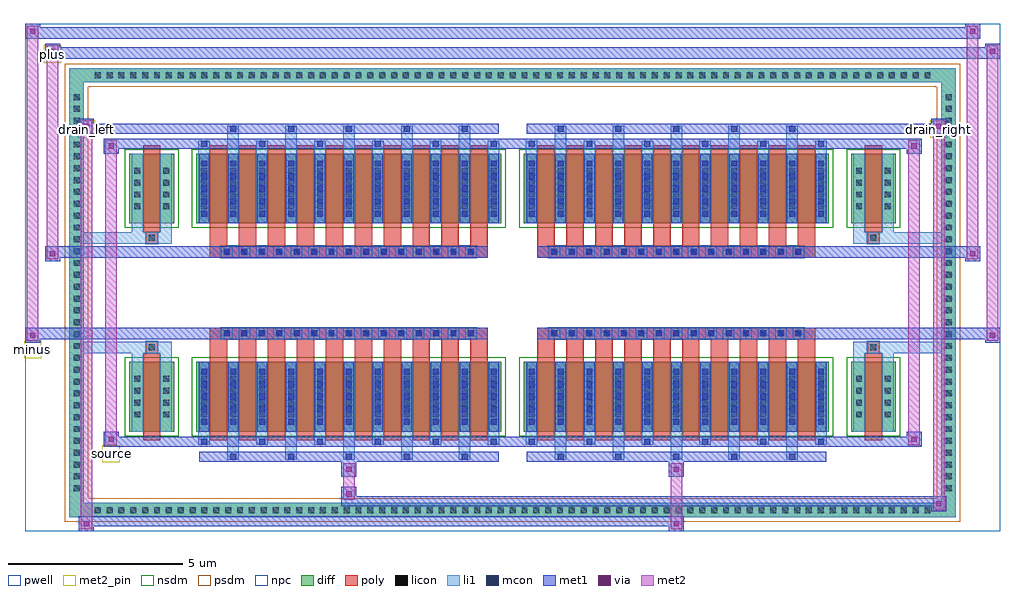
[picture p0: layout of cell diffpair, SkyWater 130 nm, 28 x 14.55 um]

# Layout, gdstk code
import gdstk
lib = gdstk.Library(unit=1e-6, precision=5e-09)
def R(c, l, rs):  # rectangles x0, y0, x1, y1
    for r in rs: c.add(gdstk.rectangle(r[:2], r[2:], *l))
def A(c, l, x, y, w, h, nx, ny, dx, dy):  # array of equal rectangles
    R(c, l, [(x+i*dx, y+j*dy, x+i*dx+w, y+j*dy+h) for i in range(nx) for j in range(ny)])
def P(c, l, *ps):  # polygons
    for p in ps: c.add(gdstk.Polygon(p, *l))
pwell = (64, 44)
diff = (65, 20)
poly = (66, 20)
licon = (66, 44)
li1 = (67, 20)
mcon = (67, 44)
met1 = (68, 20)
via = (68, 44)
met2_pin = (69, 16)
met2 = (69, 20)
nsdm = (93, 44)
psdm = (94, 20)
npc = (95, 20)

diffpair = lib.new_cell('diffpair')
R(diffpair, pwell, [(-13.98,-6.84,13.98,7.71), (-11.3,-5.03,-0.01,-0.805), (0.01,-5.03,11.3,-0.805), (-11.3,0.805,-0.01,5.03), (0.01,0.805,11.3,5.03)])
A(diffpair, diff, -12.105, -6.44, 0.41, 0.41, 71, 2, 0.34, 12.47)
A(diffpair, diff, -12.71, -5.815, 0.41, 0.41, 1, 34, 0, 0.34)
A(diffpair, diff, 12.3, -5.815, 0.41, 0.41, 1, 34, 0, 0.34)
R(diffpair, diff, [(-12.105,-6.44,12.105,-6.03), (-12.71,-5.815,-12.3,5.815), (12.3,-5.815,12.71,5.815), (-10.99,-3.985,-9.71,-1.985), (-9.07,-3.985,-0.32,-1.985), (0.32,-3.985,9.07,-1.985), (9.71,-3.985,10.99,-1.985), (-10.99,1.985,-9.71,3.985), (-9.07,1.985,-0.32,3.985), (0.32,1.985,9.07,3.985), (9.71,1.985,10.99,3.985), (-12.105,6.03,12.105,6.44)])
P(diffpair, diff, [(12.71,6.44),(-12.71,6.44),(-12.71,-6.03),(-12.3,-6.03),(-12.3,6.03),(12.3,6.03),(12.3,-6.03),(-12.3,-6.03),(-12.71,-6.03),(-12.71,-6.44),(12.71,-6.44)])
A(diffpair, poly, -8.68, -4.235, 0.5, 2.5, 10, 2, 0.83, 5.97)
A(diffpair, poly, 0.71, -4.235, 0.5, 2.5, 10, 2, 0.83, 5.97)
A(diffpair, poly, -8.68, -1.735, 0.5, 0.4, 10, 2, 0.83, 3.07)
A(diffpair, poly, 0.71, -1.735, 0.5, 0.4, 10, 2, 0.83, 3.07)
A(diffpair, poly, -8.36, -1.335, 0.33, 0.33, 15, 2, 0.5, 2.34)
A(diffpair, poly, 1.03, -1.335, 0.33, 0.33, 15, 2, 0.5, 2.34)
R(diffpair, poly, [(-10.6,-4.235,-10.1,-1.735), (10.1,-4.235,10.6,-1.735), (-10.515,-1.735,-10.185,-1.405), (-10.515,-1.735,-10.185,-1.405), (10.185,-1.735,10.515,-1.405), (10.185,-1.735,10.515,-1.405), (-8.68,-1.335,-0.71,-1.005), (0.71,-1.335,8.68,-1.005), (-8.68,1.005,-0.71,1.335), (0.71,1.005,8.68,1.335), (-10.515,1.405,-10.185,1.735), (-10.515,1.405,-10.185,1.735), (10.185,1.405,10.515,1.735), (10.185,1.405,10.515,1.735), (-10.6,1.735,-10.1,4.235), (10.1,1.735,10.6,4.235)])
A(diffpair, licon, -11.985, -6.32, 0.17, 0.17, 71, 2, 0.34, 12.47)
A(diffpair, licon, -12.59, -5.695, 0.17, 0.17, 1, 34, 0, 0.34)
A(diffpair, licon, 12.42, -5.695, 0.17, 0.17, 1, 34, 0, 0.34)
A(diffpair, licon, -10.85, -3.58, 0.17, 0.17, 1, 4, 0, 0.34)
A(diffpair, licon, -10.02, -3.58, 0.17, 0.17, 1, 4, 0, 0.34)
A(diffpair, licon, -8.93, -3.58, 0.17, 0.17, 11, 4, 0.83, 0.34)
A(diffpair, licon, 0.46, -3.58, 0.17, 0.17, 11, 4, 0.83, 0.34)
A(diffpair, licon, 9.85, -3.58, 0.17, 0.17, 1, 4, 0, 0.34)
A(diffpair, licon, 10.68, -3.58, 0.17, 0.17, 1, 4, 0, 0.34)
A(diffpair, licon, -8.28, -1.255, 0.17, 0.17, 15, 2, 0.5, 2.34)
A(diffpair, licon, 1.11, -1.255, 0.17, 0.17, 15, 2, 0.5, 2.34)
A(diffpair, licon, -10.85, 2.39, 0.17, 0.17, 1, 4, 0, 0.34)
A(diffpair, licon, -10.02, 2.39, 0.17, 0.17, 1, 4, 0, 0.34)
A(diffpair, licon, -8.93, 2.39, 0.17, 0.17, 11, 4, 0.83, 0.34)
A(diffpair, licon, 0.46, 2.39, 0.17, 0.17, 11, 4, 0.83, 0.34)
A(diffpair, licon, 9.85, 2.39, 0.17, 0.17, 1, 4, 0, 0.34)
A(diffpair, licon, 10.68, 2.39, 0.17, 0.17, 1, 4, 0, 0.34)
R(diffpair, licon, [(-10.435,-1.655,-10.265,-1.485), (10.265,-1.655,10.435,-1.485), (-10.435,1.485,-10.265,1.655), (10.265,1.485,10.435,1.655)])
A(diffpair, li1, -12.065, -6.4, 0.33, 0.33, 71, 2, 0.34, 12.47)
A(diffpair, li1, -12.67, -5.775, 0.33, 0.33, 1, 34, 0, 0.34)
A(diffpair, li1, 12.34, -5.775, 0.33, 0.33, 1, 34, 0, 0.34)
A(diffpair, li1, -8.18, -4.79, 0.33, 0.805, 5, 2, 1.66, 8.775)
A(diffpair, li1, -8.1, -4.79, 0.17, 0.17, 5, 2, 1.66, 9.41)
A(diffpair, li1, 1.21, -4.79, 0.33, 0.805, 5, 2, 1.66, 8.775)
A(diffpair, li1, 1.29, -4.79, 0.17, 0.17, 5, 2, 1.66, 9.41)
A(diffpair, li1, -9.01, -4.36, 0.33, 0.375, 6, 2, 1.66, 8.345)
A(diffpair, li1, -8.93, -4.36, 0.17, 0.17, 6, 2, 1.66, 8.55)
A(diffpair, li1, 0.38, -4.36, 0.33, 0.375, 6, 2, 1.66, 8.345)
A(diffpair, li1, 0.46, -4.36, 0.17, 0.17, 6, 2, 1.66, 8.55)
A(diffpair, li1, -9.01, -3.985, 0.33, 2, 11, 2, 0.83, 5.97)
A(diffpair, li1, 0.38, -3.985, 0.33, 2, 11, 2, 0.83, 5.97)
A(diffpair, li1, -8.93, -3.79, 0.17, 0.17, 11, 5, 0.83, 0.36)
A(diffpair, li1, -8.93, -3.79, 0.17, 1.61, 11, 2, 0.83, 5.97)
A(diffpair, li1, 0.46, -3.79, 0.17, 0.17, 11, 5, 0.83, 0.36)
A(diffpair, li1, 0.46, -3.79, 0.17, 1.61, 11, 2, 0.83, 5.97)
A(diffpair, li1, -10.93, -3.66, 0.33, 0.33, 1, 4, 0, 0.34)
A(diffpair, li1, -10.1, -3.66, 0.33, 0.33, 1, 4, 0, 0.34)
A(diffpair, li1, -9.01, -3.66, 0.33, 0.33, 11, 4, 0.83, 0.34)
A(diffpair, li1, 0.38, -3.66, 0.33, 0.33, 11, 4, 0.83, 0.34)
A(diffpair, li1, 9.77, -3.66, 0.33, 0.33, 1, 4, 0, 0.34)
A(diffpair, li1, 10.6, -3.66, 0.33, 0.33, 1, 4, 0, 0.34)
A(diffpair, li1, -8.36, -1.335, 0.33, 0.33, 15, 2, 0.5, 2.34)
A(diffpair, li1, 1.03, -1.335, 0.33, 0.33, 15, 2, 0.5, 2.34)
A(diffpair, li1, -8.93, 2.18, 0.17, 0.17, 11, 5, 0.83, 0.36)
A(diffpair, li1, 0.46, 2.18, 0.17, 0.17, 11, 5, 0.83, 0.36)
A(diffpair, li1, -10.93, 2.31, 0.33, 0.33, 1, 4, 0, 0.34)
A(diffpair, li1, -10.1, 2.31, 0.33, 0.33, 1, 4, 0, 0.34)
A(diffpair, li1, -9.01, 2.31, 0.33, 0.33, 11, 4, 0.83, 0.34)
A(diffpair, li1, 0.38, 2.31, 0.33, 0.33, 11, 4, 0.83, 0.34)
A(diffpair, li1, 9.77, 2.31, 0.33, 0.33, 1, 4, 0, 0.34)
A(diffpair, li1, 10.6, 2.31, 0.33, 0.33, 1, 4, 0, 0.34)
R(diffpair, li1, [(-12.71,-6.44,-12.3,-6.03), (-12.71,-6.44,-12.3,-6.03), (-12.3,-6.44,12.3,-6.03), (12.3,-6.44,12.71,-6.03), (12.3,-6.44,12.71,-6.03), (-12.71,-6.03,-12.3,6.03), (12.3,-6.03,12.71,6.03), (-10.93,-3.985,-10.6,-1.985), (-10.1,-3.985,-9.77,-1.985), (9.77,-3.985,10.1,-1.985), (10.6,-3.985,10.93,-1.985), (-10.93,-1.985,-10.6,-1.405), (-10.1,-1.985,-9.77,-1.405), (9.77,-1.985,10.1,-1.405), (10.6,-1.985,10.93,-1.405), (-12.71,-1.735,-10.515,-1.405), (-10.93,-1.735,-10.515,-1.405), (-10.515,-1.735,-10.185,-1.405), (-10.185,-1.735,-9.77,-1.405), (9.77,-1.735,10.185,-1.405), (10.185,-1.735,10.515,-1.405), (10.185,-1.735,12.71,-1.405), (10.515,-1.735,10.93,-1.405), (-12.71,1.405,-10.515,1.735), (-10.93,1.405,-10.515,1.735), (-10.93,1.405,-10.6,1.985), (-10.515,1.405,-10.185,1.735), (-10.185,1.405,-9.77,1.735), (-10.1,1.405,-9.77,1.985), (9.77,1.405,10.185,1.735), (9.77,1.405,10.1,1.985), (10.185,1.405,10.515,1.735), (10.185,1.405,12.71,1.735), (10.515,1.405,10.93,1.735), (10.6,1.405,10.93,1.985), (-10.93,1.985,-10.6,3.985), (-10.1,1.985,-9.77,3.985), (9.77,1.985,10.1,3.985), (10.6,1.985,10.93,3.985), (-12.71,6.03,-12.3,6.44), (-12.71,6.03,-12.3,6.44), (-12.3,6.03,12.3,6.44), (12.3,6.03,12.71,6.44), (12.3,6.03,12.71,6.44)])
A(diffpair, mcon, -8.1, -4.79, 0.17, 0.17, 5, 2, 1.66, 9.41)
A(diffpair, mcon, 1.29, -4.79, 0.17, 0.17, 5, 2, 1.66, 9.41)
A(diffpair, mcon, -8.93, -4.36, 0.17, 0.17, 6, 2, 1.66, 8.55)
A(diffpair, mcon, 0.46, -4.36, 0.17, 0.17, 6, 2, 1.66, 8.55)
A(diffpair, mcon, -8.93, -3.79, 0.17, 0.17, 11, 5, 0.83, 0.36)
A(diffpair, mcon, 0.46, -3.79, 0.17, 0.17, 11, 5, 0.83, 0.36)
A(diffpair, mcon, -8.28, -1.255, 0.17, 0.17, 15, 2, 0.5, 2.34)
A(diffpair, mcon, 1.11, -1.255, 0.17, 0.17, 15, 2, 0.5, 2.34)
A(diffpair, mcon, -8.93, 2.18, 0.17, 0.17, 11, 5, 0.83, 0.36)
A(diffpair, mcon, 0.46, 2.18, 0.17, 0.17, 11, 5, 0.83, 0.36)
A(diffpair, met1, -8.16, -4.85, 0.29, 0.29, 5, 2, 1.66, 9.41)
A(diffpair, met1, 1.23, -4.85, 0.29, 0.29, 5, 2, 1.66, 9.41)
A(diffpair, met1, -8.99, -4.42, 0.29, 0.29, 6, 2, 1.66, 8.55)
A(diffpair, met1, 0.4, -4.42, 0.29, 0.29, 6, 2, 1.66, 8.55)
A(diffpair, met1, -8.99, -3.985, 0.29, 2, 11, 2, 0.83, 5.97)
A(diffpair, met1, 0.4, -3.985, 0.29, 2, 11, 2, 0.83, 5.97)
A(diffpair, met1, -8.99, -3.85, 0.29, 0.29, 11, 5, 0.83, 0.36)
A(diffpair, met1, 0.4, -3.85, 0.29, 0.29, 11, 5, 0.83, 0.36)
A(diffpair, met1, -8.34, -1.315, 0.29, 0.29, 15, 2, 0.5, 2.34)
A(diffpair, met1, 1.05, -1.315, 0.29, 0.29, 15, 2, 0.5, 2.34)
A(diffpair, met1, -8.99, 2.12, 0.29, 0.29, 11, 5, 0.83, 0.36)
A(diffpair, met1, 0.4, 2.12, 0.29, 0.29, 11, 5, 0.83, 0.36)
R(diffpair, met1, [(-12.44,-6.84,-12.01,-6.41), (4.48,-6.84,4.91,-6.41), (-12.44,-6.7,4.91,-6.41), (12.01,-6.27,12.44,-5.84), (-4.91,-6.13,12.44,-5.84), (-4.91,-5.99,-4.48,-5.56), (-4.91,-5.28,-4.48,-4.85), (4.48,-5.28,4.91,-4.85), (-8.99,-4.85,-0.4,-4.56), (0.4,-4.85,8.99,-4.56), (-11.73,-4.42,-11.3,-3.99), (-11.73,-4.42,-8.99,-4.13), (-8.99,-4.42,-0.4,-4.13), (-0.4,-4.42,0.4,-4.13), (0.4,-4.42,8.99,-4.13), (8.99,-4.42,11.73,-4.13), (11.3,-4.42,11.73,-3.99), (-13.98,-1.435,-13.55,-1.005), (13.55,-1.435,13.98,-1.005), (-13.98,-1.335,-0.71,-1.005), (-8.68,-1.335,-0.71,-1.005), (0.71,-1.335,8.68,-1.005), (0.71,-1.335,13.98,-1.005), (-13.41,0.905,-12.98,1.335), (12.98,0.905,13.41,1.335), (-13.41,1.005,-8.68,1.335), (-8.68,1.005,-0.71,1.335), (0.71,1.005,8.68,1.335), (8.68,1.005,13.41,1.335), (-11.73,3.99,-11.3,4.42), (11.3,3.99,11.73,4.42), (-11.73,4.13,-8.99,4.42), (-8.99,4.13,-0.4,4.42), (-0.4,4.13,0.4,4.42), (0.4,4.13,8.99,4.42), (8.99,4.13,11.73,4.42), (-12.44,4.56,-12.01,4.99), (-12.44,4.56,-8.99,4.85), (-8.99,4.56,-0.4,4.85), (0.4,4.56,8.99,4.85), (8.99,4.56,12.44,4.85), (12.01,4.56,12.44,4.99), (-13.41,6.71,-12.98,7.14), (-13.41,6.71,-11.3,7.04), (-11.3,6.71,11.3,7.04), (11.3,6.71,13.98,7.04), (13.55,6.71,13.98,7.14), (-13.98,7.28,-13.55,7.71), (-13.98,7.28,-11.3,7.61), (-11.3,7.28,11.3,7.61), (11.3,7.28,13.41,7.61), (12.98,7.28,13.41,7.71)])
R(diffpair, via, [(-12.3,-6.7,-12.15,-6.55), (4.62,-6.7,4.77,-6.55), (12.15,-6.13,12.3,-5.98), (-4.77,-5.85,-4.62,-5.7), (-4.77,-5.14,-4.62,-4.99), (4.62,-5.14,4.77,-4.99), (-11.59,-4.28,-11.44,-4.13), (11.44,-4.28,11.59,-4.13), (-13.84,-1.295,-13.69,-1.145), (13.69,-1.295,13.84,-1.145), (-13.27,1.045,-13.12,1.195), (13.12,1.045,13.27,1.195), (-11.59,4.13,-11.44,4.28), (11.44,4.13,11.59,4.28), (-12.3,4.7,-12.15,4.85), (12.15,4.7,12.3,4.85), (-13.27,6.85,-13.12,7), (13.69,6.85,13.84,7), (-13.84,7.42,-13.69,7.57), (13.12,7.42,13.27,7.57)])
R(diffpair, met2_pin, [(-11.765,-4.87,-11.265,-4.37), (-14.015,-1.885,-13.515,-1.385), (-12.475,4.44,-11.975,4.94), (11.975,4.44,12.475,4.94), (-13.445,6.59,-12.945,7.09)])
R(diffpair, met2, [(-12.39,-6.79,-12.06,-6.46), (-12.39,-6.79,-12.06,4.94), (4.53,-6.79,4.86,-6.46), (4.53,-6.46,4.86,-5.23), (12.06,-6.22,12.39,-5.89), (12.06,-6.22,12.39,4.94), (-4.86,-5.94,-4.53,-5.61), (-4.86,-5.61,-4.53,-5.23), (-4.86,-5.23,-4.53,-4.9), (4.53,-5.23,4.86,-4.9), (-11.68,-4.37,-11.35,-4.04), (-11.68,-4.37,-11.35,4.37), (11.35,-4.37,11.68,-4.04), (11.35,-4.37,11.68,4.37), (-13.93,-1.385,-13.6,-1.055), (-13.93,-1.385,-13.6,7.66), (13.6,-1.385,13.93,-1.055), (13.6,-1.385,13.93,7.09), (-13.36,0.955,-13.03,1.285), (-13.36,0.955,-13.03,7.09), (13.03,0.955,13.36,1.285), (13.03,0.955,13.36,7.66), (-11.68,4.04,-11.35,4.37), (11.35,4.04,11.68,4.37), (-12.39,4.61,-12.06,4.94), (12.06,4.61,12.39,4.94), (-13.36,6.76,-13.03,7.09), (13.6,6.76,13.93,7.09), (-13.93,7.33,-13.6,7.66), (13.03,7.33,13.36,7.66)])
P(diffpair, met2, [(13.93,-1.385),(13.93,-1.385),(13.93,-1.055),(13.93,-1.055)],
  [(13.93,6.76),(13.93,6.76),(13.93,7.09),(13.93,7.09)],
  [(-13.6,-1.385),(-13.6,-1.385),(-13.6,-1.055),(-13.6,-1.055)],
  [(-13.6,7.33),(-13.6,7.33),(-13.6,7.66),(-13.6,7.66)],
  [(13.36,0.955),(13.36,0.955),(13.36,1.285),(13.36,1.285)],
  [(13.36,7.33),(13.36,7.33),(13.36,7.66),(13.36,7.66)],
  [(-13.03,0.955),(-13.03,0.955),(-13.03,1.285),(-13.03,1.285)],
  [(-13.03,6.76),(-13.03,6.76),(-13.03,7.09),(-13.03,7.09)],
  [(-12.06,-6.79),(-12.06,-6.79),(-12.06,-6.46),(-12.06,-6.46)],
  [(-12.06,4.61),(-12.06,4.61),(-12.06,4.94),(-12.06,4.94)],
  [(12.39,-6.22),(12.39,-6.22),(12.39,-5.89),(12.39,-5.89)],
  [(12.39,4.61),(12.39,4.61),(12.39,4.94),(12.39,4.94)],
  [(-11.35,-4.37),(-11.35,-4.37),(-11.35,-4.04),(-11.35,-4.04)],
  [(-11.35,4.04),(-11.35,4.04),(-11.35,4.37),(-11.35,4.37)],
  [(11.68,-4.37),(11.68,-4.37),(11.68,-4.04),(11.68,-4.04)],
  [(11.68,4.04),(11.68,4.04),(11.68,4.37),(11.68,4.37)])
R(diffpair, nsdm, [(-11.12,-4.115,-9.58,-1.855), (-9.2,-4.115,-0.19,-1.855), (0.19,-4.115,9.2,-1.855), (9.58,-4.115,11.12,-1.855), (-11.12,1.855,-9.58,4.115), (-9.2,1.855,-0.19,4.115), (0.19,1.855,9.2,4.115), (9.58,1.855,11.12,4.115)])
P(diffpair, psdm, [(12.84,6.57),(-12.84,6.57),(-12.84,-5.9),(-12.17,-5.9),(-12.17,5.9),(12.17,5.9),(12.17,-5.9),(-12.17,-5.9),(-12.84,-5.9),(-12.84,-6.57),(12.84,-6.57)])
A(diffpair, npc, -8.38, -1.355, 0.37, 0.37, 15, 2, 0.5, 2.34)
A(diffpair, npc, 1.01, -1.355, 0.37, 0.37, 15, 2, 0.5, 2.34)
R(diffpair, npc, [(-10.535,-1.755,-10.165,-1.385), (10.165,-1.755,10.535,-1.385), (-8.38,-1.355,-7.51,-0.985), (-8.38,-1.355,-7.51,-0.985), (-7.88,-1.355,-7.01,-0.985), (-7.88,-1.355,-7.01,-0.985), (-7.38,-1.355,-6.51,-0.985), (-7.38,-1.355,-6.51,-0.985), (-6.88,-1.355,-6.01,-0.985), (-6.88,-1.355,-6.01,-0.985), (-6.38,-1.355,-5.51,-0.985), (-6.38,-1.355,-5.51,-0.985), (-5.88,-1.355,-5.01,-0.985), (-5.88,-1.355,-5.01,-0.985), (-5.38,-1.355,-4.51,-0.985), (-5.38,-1.355,-4.51,-0.985), (-4.88,-1.355,-4.01,-0.985), (-4.88,-1.355,-4.01,-0.985), (-4.38,-1.355,-3.51,-0.985), (-4.38,-1.355,-3.51,-0.985), (-3.88,-1.355,-3.01,-0.985), (-3.88,-1.355,-3.01,-0.985), (-3.38,-1.355,-2.51,-0.985), (-3.38,-1.355,-2.51,-0.985), (-2.88,-1.355,-2.01,-0.985), (-2.88,-1.355,-2.01,-0.985), (-2.38,-1.355,-1.51,-0.985), (-2.38,-1.355,-1.51,-0.985), (-1.88,-1.355,-1.01,-0.985), (-1.88,-1.355,-1.01,-0.985), (1.01,-1.355,1.88,-0.985), (1.01,-1.355,1.88,-0.985), (1.51,-1.355,2.38,-0.985), (1.51,-1.355,2.38,-0.985), (2.01,-1.355,2.88,-0.985), (2.01,-1.355,2.88,-0.985), (2.51,-1.355,3.38,-0.985), (2.51,-1.355,3.38,-0.985), (3.01,-1.355,3.88,-0.985), (3.01,-1.355,3.88,-0.985), (3.51,-1.355,4.38,-0.985), (3.51,-1.355,4.38,-0.985), (4.01,-1.355,4.88,-0.985), (4.01,-1.355,4.88,-0.985), (4.51,-1.355,5.38,-0.985), (4.51,-1.355,5.38,-0.985), (5.01,-1.355,5.88,-0.985), (5.01,-1.355,5.88,-0.985), (5.51,-1.355,6.38,-0.985), (5.51,-1.355,6.38,-0.985), (6.01,-1.355,6.88,-0.985), (6.01,-1.355,6.88,-0.985), (6.51,-1.355,7.38,-0.985), (6.51,-1.355,7.38,-0.985), (7.01,-1.355,7.88,-0.985), (7.01,-1.355,7.88,-0.985), (7.51,-1.355,8.38,-0.985), (7.51,-1.355,8.38,-0.985), (-8.38,0.985,-7.51,1.355), (-8.38,0.985,-7.51,1.355), (-7.88,0.985,-7.01,1.355), (-7.88,0.985,-7.01,1.355), (-7.38,0.985,-6.51,1.355), (-7.38,0.985,-6.51,1.355), (-6.88,0.985,-6.01,1.355), (-6.88,0.985,-6.01,1.355), (-6.38,0.985,-5.51,1.355), (-6.38,0.985,-5.51,1.355), (-5.88,0.985,-5.01,1.355), (-5.88,0.985,-5.01,1.355), (-5.38,0.985,-4.51,1.355), (-5.38,0.985,-4.51,1.355), (-4.88,0.985,-4.01,1.355), (-4.88,0.985,-4.01,1.355), (-4.38,0.985,-3.51,1.355), (-4.38,0.985,-3.51,1.355), (-3.88,0.985,-3.01,1.355), (-3.88,0.985,-3.01,1.355), (-3.38,0.985,-2.51,1.355), (-3.38,0.985,-2.51,1.355), (-2.88,0.985,-2.01,1.355), (-2.88,0.985,-2.01,1.355), (-2.38,0.985,-1.51,1.355), (-2.38,0.985,-1.51,1.355), (-1.88,0.985,-1.01,1.355), (-1.88,0.985,-1.01,1.355), (1.01,0.985,1.88,1.355), (1.01,0.985,1.88,1.355), (1.51,0.985,2.38,1.355), (1.51,0.985,2.38,1.355), (2.01,0.985,2.88,1.355), (2.01,0.985,2.88,1.355), (2.51,0.985,3.38,1.355), (2.51,0.985,3.38,1.355), (3.01,0.985,3.88,1.355), (3.01,0.985,3.88,1.355), (3.51,0.985,4.38,1.355), (3.51,0.985,4.38,1.355), (4.01,0.985,4.88,1.355), (4.01,0.985,4.88,1.355), (4.51,0.985,5.38,1.355), (4.51,0.985,5.38,1.355), (5.01,0.985,5.88,1.355), (5.01,0.985,5.88,1.355), (5.51,0.985,6.38,1.355), (5.51,0.985,6.38,1.355), (6.01,0.985,6.88,1.355), (6.01,0.985,6.88,1.355), (6.51,0.985,7.38,1.355), (6.51,0.985,7.38,1.355), (7.01,0.985,7.88,1.355), (7.01,0.985,7.88,1.355), (7.51,0.985,8.38,1.355), (7.51,0.985,8.38,1.355), (-10.535,1.385,-10.165,1.755), (10.165,1.385,10.535,1.755)])
diffpair.add(gdstk.Label('minus', (-13.765,-1.635), layer=69, texttype=5))
diffpair.add(gdstk.Label('drain_right', (12.225,4.69), layer=69, texttype=5))
diffpair.add(gdstk.Label('drain_left', (-12.225,4.69), layer=69, texttype=5))
diffpair.add(gdstk.Label('source', (-11.515,-4.62), layer=69, texttype=5))
diffpair.add(gdstk.Label('plus', (-13.195,6.84), layer=69, texttype=5))

lib.write_gds('diffpair.gds')
